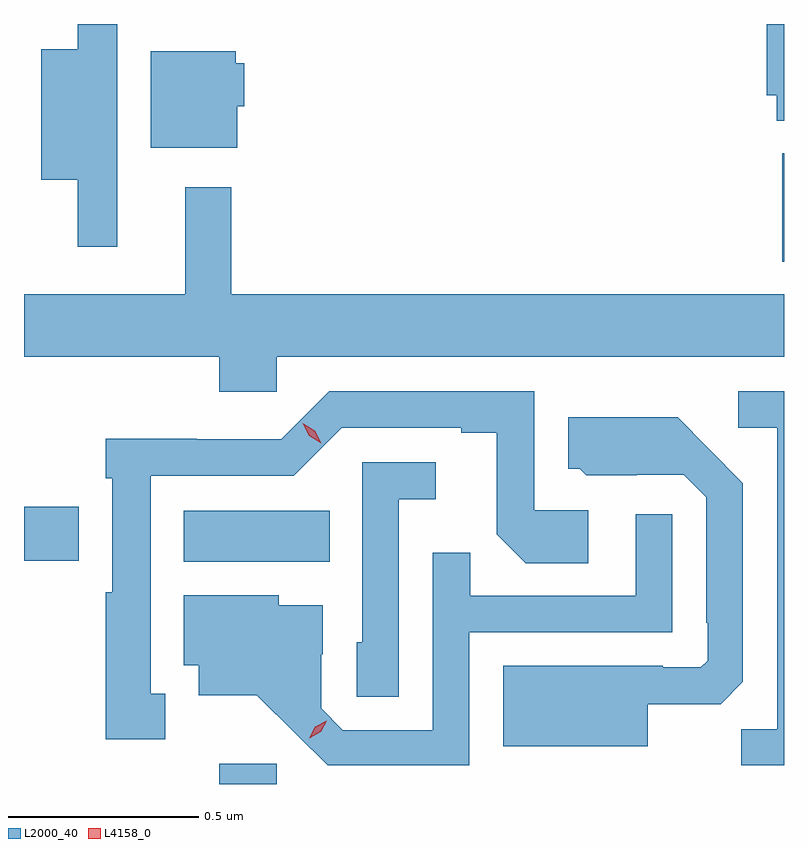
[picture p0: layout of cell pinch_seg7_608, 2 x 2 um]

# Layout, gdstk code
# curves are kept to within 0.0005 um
import gdstk
lib = gdstk.Library(unit=1e-6, precision=1e-09)
def R(c, l, rs):  # rectangles x0, y0, x1, y1
    for r in rs: c.add(gdstk.rectangle(r[:2], r[2:], *l))
def P(c, l, *ps):  # polygons
    for p in ps: c.add(gdstk.Polygon(p, *l))
L2000_40 = (2000, 40)
L4158_0 = (4158, 0)

pinch_seg7_608 = lib.new_cell('pinch_seg7_608')
R(pinch_seg7_608, L2000_40, [(136.133,1058.099,136.284,1058.152), (136.04,1058.684,136.424,1058.818), (135.619,1058.687,135.763,1058.829), (137.615,1059.474,137.619,1059.759)])
P(pinch_seg7_608, L2000_40, [(137.619,1060.099),(137.573,1060.099),(137.573,1059.911),(137.6,1059.911),(137.6,1059.844),(137.619,1059.844)],
  [(135.865,1060.099),(135.761,1060.099),(135.761,1060.033),(135.665,1060.033),(135.665,1059.689),(135.761,1059.689),(135.761,1059.513),(135.865,1059.513)],
  [(136.18,1059.882),(136.198,1059.882),(136.198,1059.996),(136.176,1059.996),(136.176,1060.027),(135.953,1060.027),(135.953,1059.773),(136.18,1059.773)],
  [(136.284,1059.224),(137.619,1059.224),(137.619,1059.388),(136.165,1059.388),(136.165,1059.67),(136.043,1059.67),(136.043,1059.388),(135.619,1059.388),(135.619,1059.224),(136.133,1059.224),(136.133,1059.131),(136.284,1059.131)],
  [(135.991,1058.337),(135.952,1058.337),(135.952,1058.91),(136.329,1058.91),(136.455,1059.036),(136.769,1059.036),(136.769,1059.024),(136.863,1059.024),(136.863,1058.756),(136.939,1058.68),(137.104,1058.68),(137.104,1058.82),(136.962,1058.82),(136.962,1059.132),(136.422,1059.132),(136.296,1059.006),(136.074,1059.006),(136.074,1059.008),(135.834,1059.008),(135.834,1058.903),(135.851,1058.903),(135.851,1058.603),(135.834,1058.603),(135.834,1058.217),(135.991,1058.217)],
  [(137.619,1059.132),(137.499,1059.132),(137.499,1059.036),(137.601,1059.036),(137.601,1058.243),(137.506,1058.243),(137.506,1058.148),(137.619,1058.148)],
  [(137.26,1058.309),(137.452,1058.309),(137.511,1058.368),(137.511,1058.89),(137.339,1059.064),(137.051,1059.064),(137.051,1058.928),(137.082,1058.928),(137.098,1058.912),(137.232,1058.912),(137.232,1058.913),(137.355,1058.913),(137.415,1058.853),(137.415,1058.524),(137.418,1058.524),(137.418,1058.424),(137.4,1058.406),(137.3,1058.406),(137.3,1058.41),(136.88,1058.41),(136.88,1058.198),(137.26,1058.198)],
  [(136.605,1058.849),(136.702,1058.849),(136.702,1058.946),(136.509,1058.946),(136.509,1058.472),(136.494,1058.472),(136.494,1058.329),(136.605,1058.329)],
  [(136.791,1058.499),(137.325,1058.499),(137.325,1058.809),(137.229,1058.809),(137.229,1058.595),(136.793,1058.595),(136.793,1058.708),(136.695,1058.708),(136.695,1058.241),(136.458,1058.241),(136.401,1058.298),(136.401,1058.44),(136.405,1058.44),(136.405,1058.569),(136.29,1058.569),(136.29,1058.596),(136.04,1058.596),(136.04,1058.412),(136.079,1058.412),(136.079,1058.333),(136.231,1058.333),(136.418,1058.148),(136.791,1058.148)])
P(pinch_seg7_608, L4158_0, [(136.369,1058.22),(136.369,1058.22),(136.386,1058.25),(136.416,1058.266),(136.416,1058.266),(136.416,1058.266),(136.4,1058.236),(136.37,1058.22)],
  [(136.401,1058.996),(136.37,1059.015),(136.352,1059.048),(136.352,1059.048),(136.353,1059.048),(136.384,1059.029),(136.401,1058.996),(136.401,1058.996)])

lib.write_gds('pinch_seg7_608.gds')
